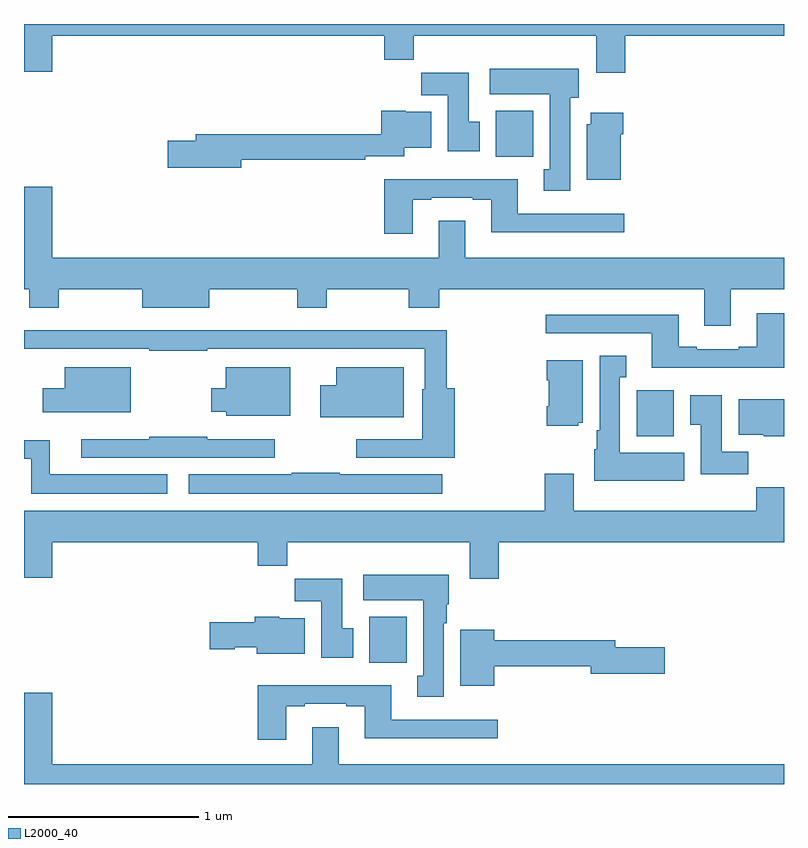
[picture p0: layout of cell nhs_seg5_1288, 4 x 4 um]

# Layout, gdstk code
import gdstk
lib = gdstk.Library(unit=1e-6, precision=1e-09)
def R(c, l, rs):  # rectangles x0, y0, x1, y1
    for r in rs: c.add(gdstk.rectangle(r[:2], r[2:], *l))
def P(c, l, *ps):  # polygons
    for p in ps: c.add(gdstk.Polygon(p, *l))
L2000_40 = (2000, 40)

nhs_seg5_1288 = lib.new_cell('nhs_seg5_1288')
R(nhs_seg5_1288, L2000_40, [(190.817,877.436,191.014,877.678), (192.224,878.63,192.421,878.872), (191.483,880.1,191.68,880.342)])
P(nhs_seg5_1288, L2000_40, [(192.164,880.736),(193,880.736),(193,880.799),(189,880.799),(189,880.548),(189.148,880.548),(189.148,880.736),(190.895,880.736),(190.895,880.612),(191.051,880.612),(191.051,880.736),(192.011,880.736),(192.011,880.542),(192.164,880.542)],
  [(191.875,880.41),(191.92,880.41),(191.92,880.564),(191.451,880.564),(191.451,880.43),(191.768,880.43),(191.768,880.034),(191.735,880.034),(191.735,879.921),(191.875,879.921)],
  [(191.398,880.284),(191.341,880.284),(191.341,880.543),(191.092,880.543),(191.092,880.424),(191.231,880.424),(191.231,880.128),(191.398,880.128)],
  [(190.144,880.084),(190.796,880.084),(190.796,880.104),(191.002,880.104),(191.002,880.148),(191.143,880.148),(191.143,880.336),(191.01,880.336),(191.01,880.342),(190.88,880.342),(190.88,880.22),(189.905,880.22),(189.905,880.184),(189.756,880.184),(189.756,880.042),(190.144,880.042)],
  [(192.142,880.22),(192.155,880.22),(192.155,880.333),(191.984,880.333),(191.984,880.272),(191.963,880.272),(191.963,879.98),(192.142,879.98)],
  [(191.047,879.873),(191.143,879.873),(191.143,879.885),(191.363,879.885),(191.363,879.873),(191.459,879.873),(191.459,879.704),(192.16,879.704),(192.16,879.801),(191.599,879.801),(191.599,879.982),(190.895,879.982),(190.895,879.696),(191.047,879.696)],
  [(192.721,879.404),(193,879.404),(193,879.568),(191.323,879.568),(191.323,879.763),(191.183,879.763),(191.183,879.568),(189.148,879.568),(189.148,879.943),(189,879.943),(189,879.404),(189.028,879.404),(189.028,879.305),(189.183,879.305),(189.183,879.404),(189.623,879.404),(189.623,879.305),(189.976,879.305),(189.976,879.404),(190.438,879.404),(190.438,879.305),(190.593,879.305),(190.593,879.404),(191.026,879.404),(191.026,879.305),(191.186,879.305),(191.186,879.404),(192.581,879.404),(192.581,879.21),(192.721,879.21)],
  [(193,879.277),(192.857,879.277),(192.857,879.1),(192.761,879.1),(192.761,879.087),(192.541,879.087),(192.541,879.1),(192.445,879.1),(192.445,879.268),(191.745,879.268),(191.745,879.171),(192.305,879.171),(192.305,878.99),(193,878.99)],
  [(191.267,878.881),(191.225,878.881),(191.225,879.186),(190.937,879.186),(190.937,879.188),(190.681,879.188),(190.681,879.186),(190.349,879.186),(190.349,879.188),(190.072,879.188),(190.072,879.186),(189.527,879.186),(189.527,879.188),(189.271,879.188),(189.271,879.186),(189,879.186),(189,879.09),(189.658,879.09),(189.658,879.078),(189.965,879.078),(189.965,879.09),(191.109,879.09),(191.109,878.877),(191.096,878.877),(191.096,878.613),(190.749,878.613),(190.749,878.517),(191.267,878.517)],
  [(192.475,878.542),(192.136,878.542),(192.136,878.939),(192.169,878.939),(192.169,879.052),(192.029,879.052),(192.029,878.662),(192.014,878.662),(192.014,878.562),(192.002,878.562),(192.002,878.396),(192.475,878.396)],
  [(191.916,878.7),(191.941,878.7),(191.941,879.028),(191.75,879.028),(191.75,878.924),(191.762,878.924),(191.762,878.788),(191.75,878.788),(191.75,878.684),(191.916,878.684)],
  [(189.562,878.992),(189.215,878.992),(189.215,878.881),(189.098,878.881),(189.098,878.756),(189.562,878.756)],
  [(190.402,878.992),(190.061,878.992),(190.061,878.881),(189.986,878.881),(189.986,878.759),(190.065,878.759),(190.065,878.738),(190.402,878.738)],
  [(190.999,878.992),(190.643,878.992),(190.643,878.899),(190.559,878.899),(190.559,878.729),(190.999,878.729)],
  [(192.812,878.548),(192.673,878.548),(192.673,878.845),(192.506,878.845),(192.506,878.689),(192.563,878.689),(192.563,878.43),(192.812,878.43)],
  [(193,878.824),(192.761,878.824),(192.761,878.636),(192.894,878.636),(192.894,878.63),(193,878.63)],
  [(190.321,878.613),(189.965,878.613),(189.965,878.626),(189.658,878.626),(189.658,878.614),(189.3,878.614),(189.3,878.517),(190.321,878.517)],
  [(189.754,878.428),(189.136,878.428),(189.136,878.607),(189,878.607),(189,878.511),(189.038,878.511),(189.038,878.327),(189.754,878.327)],
  [(191.2,878.428),(190.661,878.428),(190.661,878.438),(190.408,878.438),(190.408,878.428),(189.867,878.428),(189.867,878.327),(191.2,878.327)],
  [(191.498,878.072),(193,878.072),(193,878.36),(192.853,878.36),(192.853,878.236),(191.893,878.236),(191.893,878.431),(191.741,878.431),(191.741,878.236),(189,878.236),(189,877.884),(189.148,877.884),(189.148,878.072),(190.229,878.072),(190.229,877.948),(190.385,877.948),(190.385,878.072),(191.345,878.072),(191.345,877.878),(191.498,877.878)],
  [(191.209,877.646),(191.224,877.646),(191.224,877.746),(191.236,877.746),(191.236,877.9),(190.785,877.9),(190.785,877.766),(191.102,877.766),(191.102,877.37),(191.069,877.37),(191.069,877.257),(191.209,877.257)],
  [(190.732,877.62),(190.675,877.62),(190.675,877.879),(190.426,877.879),(190.426,877.76),(190.565,877.76),(190.565,877.464),(190.732,877.464)],
  [(190.477,877.672),(190.344,877.672),(190.344,877.678),(190.214,877.678),(190.214,877.65),(189.978,877.65),(189.978,877.508),(190.11,877.508),(190.11,877.52),(190.226,877.52),(190.226,877.484),(190.477,877.484)],
  [(191.476,877.42),(191.984,877.42),(191.984,877.378),(192.373,877.378),(192.373,877.52),(192.112,877.52),(192.112,877.556),(191.476,877.556),(191.476,877.612),(191.297,877.612),(191.297,877.316),(191.476,877.316)],
  [(190.381,877.209),(190.477,877.209),(190.477,877.221),(190.697,877.221),(190.697,877.209),(190.793,877.209),(190.793,877.04),(191.494,877.04),(191.494,877.137),(190.933,877.137),(190.933,877.318),(190.229,877.318),(190.229,877.032),(190.381,877.032)],
  [(193,876.904),(190.657,876.904),(190.657,877.099),(190.517,877.099),(190.517,876.904),(189.148,876.904),(189.148,877.279),(189,877.279),(189,876.799),(193,876.799)])

lib.write_gds('nhs_seg5_1288.gds')
